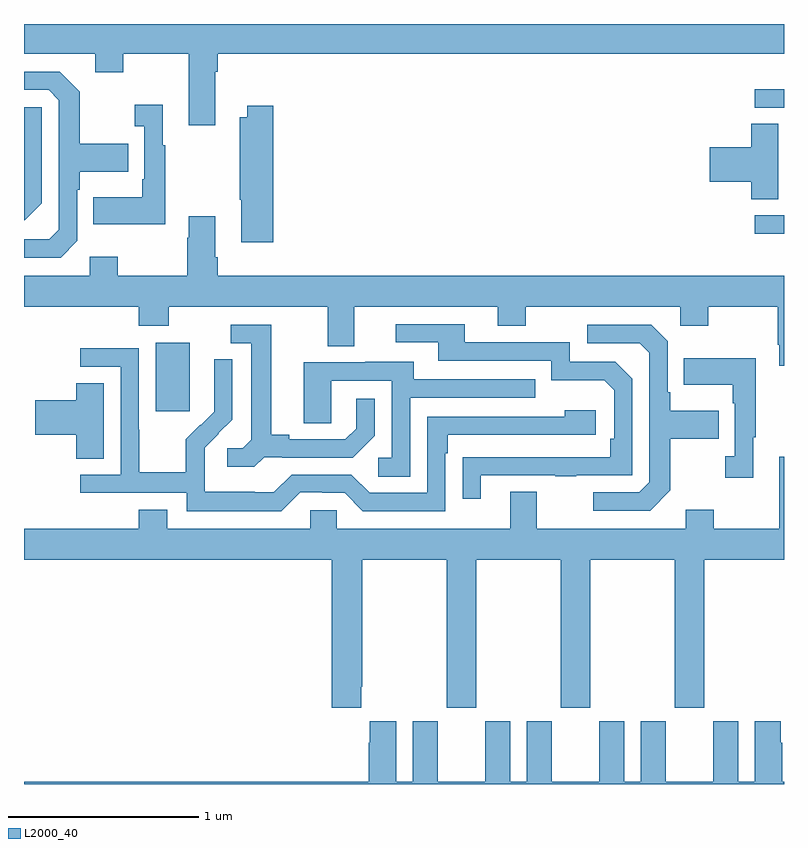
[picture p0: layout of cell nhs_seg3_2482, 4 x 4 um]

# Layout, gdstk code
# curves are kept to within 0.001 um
import gdstk
lib = gdstk.Library(unit=1e-6, precision=1e-09)
def R(c, l, rs):  # rectangles x0, y0, x1, y1
    for r in rs: c.add(gdstk.rectangle(r[:2], r[2:], *l))
def P(c, l, *ps):  # polygons
    for p in ps: c.add(gdstk.Polygon(p, *l))
L2000_40 = (2000, 40)

nhs_seg3_2482 = lib.new_cell('nhs_seg3_2482')
R(nhs_seg3_2482, L2000_40, [(239.693,704.361,239.872,704.722), (242.847,705.295,243,705.393), (242.847,705.96,243,706.056)])
P(nhs_seg3_2482, L2000_40, [(240.007,706.148),(240.02,706.148),(240.02,706.244),(243,706.244),(243,706.4),(239,706.4),(239,706.244),(239.375,706.244),(239.375,706.145),(239.523,706.145),(239.523,706.244),(239.867,706.244),(239.867,705.867),(240.007,705.867)],
  [(239.28,705.258),(239.28,705.527),(239.293,705.527),(239.293,705.623),(239.549,705.623),(239.549,705.771),(239.293,705.771),(239.293,706.043),(239.187,706.149),(239,706.149),(239,706.053),(239.13,706.053),(239.184,705.999),(239.184,705.318),(239.133,705.267),(239,705.267),(239,705.171),(239.193,705.171)],
  [(239.743,705.763),(239.731,705.763),(239.731,705.976),(239.583,705.976),(239.583,705.863),(239.634,705.863),(239.634,705.583),(239.622,705.583),(239.622,705.487),(239.365,705.487),(239.365,705.347),(239.743,705.347)],
  [(240.311,705.97),(240.176,705.97),(240.176,705.91),(240.136,705.91),(240.136,705.475),(240.143,705.475),(240.143,705.252),(240.311,705.252)],
  [(239.094,705.456),(239.094,705.963),(239,705.963),(239,705.366),(239.004,705.366)],
  [(242.971,705.875),(242.828,705.875),(242.828,705.752),(242.61,705.752),(242.61,705.569),(242.828,705.569),(242.828,705.478),(242.971,705.478)],
  [(243,705.076),(240.02,705.076),(240.02,705.172),(240.007,705.172),(240.007,705.388),(239.867,705.388),(239.867,705.275),(239.86,705.275),(239.86,705.076),(239.493,705.076),(239.493,705.175),(239.346,705.175),(239.346,705.076),(239,705.076),(239,704.912),(239.603,704.912),(239.603,704.813),(239.763,704.813),(239.763,704.912),(240.599,704.912),(240.599,704.704),(240.739,704.704),(240.739,704.912),(241.493,704.912),(241.493,704.813),(241.641,704.813),(241.641,704.912),(242.454,704.912),(242.454,704.813),(242.601,704.813),(242.601,704.912),(242.968,704.912),(242.968,704.713),(242.975,704.713),(242.975,704.601),(243,704.601)],
  [(241.405,704.025),(241.795,704.025),(241.795,704.02),(241.907,704.02),(241.907,704.025),(242.202,704.025),(242.202,704.532),(242.112,704.622),(241.872,704.622),(241.872,704.724),(241.321,704.724),(241.321,704.82),(240.957,704.82),(240.957,704.724),(241.181,704.724),(241.181,704.628),(241.776,704.628),(241.776,704.525),(242.053,704.525),(242.106,704.472),(242.106,704.218),(242.086,704.218),(242.086,704.121),(241.309,704.12),(241.309,703.902),(241.405,703.902)],
  [(242.401,703.945),(242.401,704.218),(242.657,704.218),(242.657,704.365),(242.401,704.365),(242.401,704.461),(242.388,704.461),(242.388,704.73),(242.301,704.817),(241.965,704.817),(241.965,704.721),(242.241,704.721),(242.292,704.67),(242.292,703.989),(242.238,703.935),(241.995,703.935),(241.995,703.839),(242.295,703.839)],
  [(240.264,704.121),(240.358,704.121),(240.358,704.118),(240.73,704.118),(240.846,704.234),(240.846,704.428),(240.749,704.428),(240.749,704.271),(240.692,704.214),(240.397,704.214),(240.397,704.237),(240.301,704.237),(240.301,704.817),(240.087,704.817),(240.087,704.721),(240.197,704.721),(240.197,704.213),(240.15,704.166),(240.069,704.166),(240.069,704.069),(240.212,704.069)],
  [(240.453,703.935),(240.569,703.935),(240.569,703.932),(240.687,703.932),(240.783,703.836),(241.218,703.836),(241.218,704.141),(241.231,704.141),(241.231,704.238),(242.008,704.238),(242.008,704.368),(241.847,704.368),(241.847,704.334),(241.122,704.334),(241.122,703.932),(240.819,703.932),(240.723,704.028),(240.408,704.028),(240.315,703.935),(240.215,703.935),(240.215,703.939),(239.952,703.939),(239.952,704.073),(239.95,704.073),(239.95,704.17),(240.096,704.318),(240.096,704.636),(240,704.636),(240,704.482),(240.002,704.482),(240.002,704.36),(239.931,704.289),(239.928,704.292),(239.851,704.215),(239.851,704.041),(239.607,704.041),(239.607,704.264),(239.604,704.264),(239.604,704.694),(239.295,704.694),(239.295,704.595),(239.508,704.595),(239.508,704.028),(239.295,704.028),(239.295,703.932),(239.856,703.932),(239.856,703.835),(240.353,703.835)],
  [(242.839,704.225),(242.851,704.225),(242.851,704.641),(242.473,704.641),(242.473,704.501),(242.73,704.501),(242.73,704.405),(242.742,704.405),(242.742,704.126),(242.691,704.126),(242.691,704.013),(242.839,704.013)],
  [(241.032,704.433),(241.691,704.433),(241.691,704.529),(241.051,704.529),(241.051,704.623),(240.797,704.623),(240.797,704.619),(240.473,704.619),(240.473,704.299),(240.618,704.299),(240.618,704.523),(240.936,704.523),(240.936,704.118),(240.864,704.118),(240.864,704.017),(241.032,704.017)],
  [(239.419,704.51),(239.276,704.51),(239.276,704.42),(239.058,704.42),(239.058,704.237),(239.276,704.237),(239.276,704.113),(239.419,704.113)],
  [(240.775,702.913),(240.78,702.913),(240.78,703.58),(241.225,703.58),(241.225,702.801),(241.38,702.801),(241.38,703.58),(241.825,703.58),(241.825,702.801),(241.98,702.801),(241.98,703.58),(242.425,703.58),(242.425,702.801),(242.58,702.801),(242.58,703.58),(243,703.58),(243,704.122),(242.975,704.122),(242.975,703.744),(242.631,703.744),(242.631,703.843),(242.483,703.843),(242.483,703.744),(241.699,703.744),(241.699,703.939),(241.559,703.939),(241.559,703.744),(240.645,703.744),(240.645,703.842),(240.507,703.842),(240.507,703.744),(239.755,703.744),(239.755,703.843),(239.603,703.843),(239.603,703.744),(239,703.744),(239,703.58),(240.62,703.58),(240.62,702.801),(240.775,702.801)],
  [(243,702.412),(242.99,702.412),(242.99,702.617),(242.983,702.617),(242.983,702.73),(242.846,702.73),(242.846,702.412),(242.758,702.412),(242.758,702.73),(242.627,702.73),(242.627,702.412),(242.377,702.412),(242.377,702.73),(242.246,702.73),(242.246,702.412),(242.158,702.412),(242.158,702.73),(242.027,702.73),(242.027,702.412),(241.777,702.412),(241.777,702.73),(241.646,702.73),(241.646,702.412),(241.558,702.412),(241.558,702.73),(241.427,702.73),(241.427,702.412),(241.177,702.412),(241.177,702.73),(241.046,702.73),(241.046,702.412),(240.958,702.412),(240.958,702.73),(240.821,702.73),(240.821,702.617),(240.815,702.617),(240.815,702.412),(239,702.412),(239,702.4),(243,702.4)])

lib.write_gds('nhs_seg3_2482.gds')
